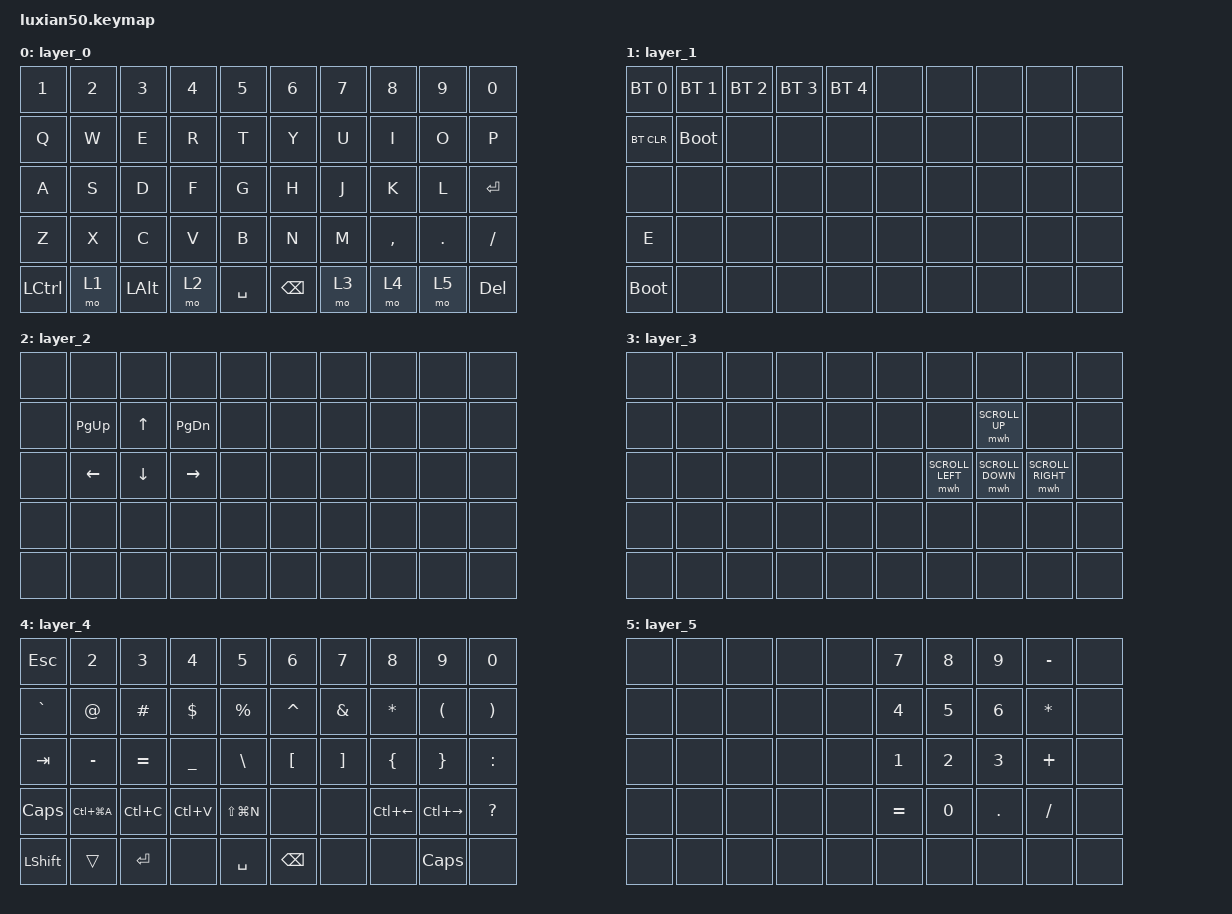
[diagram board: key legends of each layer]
#include <behaviors.dtsi>
#include <dt-bindings/zmk/mouse.h>
#include <dt-bindings/zmk/bt.h>
#include <dt-bindings/zmk/keys.h>
#include <dt-bindings/zmk/mouse.h>

/ {
    keymap {
        compatible = "zmk,keymap";

        layer_0 {
            bindings = <
&kp NUMBER_1  &kp NUMBER_2  &kp NUMBER_3  &kp NUMBER_4  &kp NUMBER_5  &kp NUMBER_6   &kp NUMBER_7  &kp NUMBER_8  &kp NUMBER_9  &kp NUMBER_0
&kp Q         &kp W         &kp E         &kp R         &kp T         &kp Y          &kp U         &kp I         &kp O         &kp P
&kp A         &kp S         &kp D         &kp F         &kp G         &kp H          &kp J         &kp K         &kp L         &kp ENTER
&kp Z         &kp X         &kp C         &kp V         &kp B         &kp N          &kp M         &kp COMMA     &kp DOT       &kp SLASH
&kp LCTRL     &mo 1         &kp LEFT_ALT  &mo 2         &kp SPACE     &kp BACKSPACE  &mo 3         &mo 4         &mo 5         &kp DELETE
            >;
        };

        layer_1 {
            bindings = <
&bt BT_SEL 0  &bt BT_SEL 1  &bt BT_SEL 2  &bt BT_SEL 3  &bt BT_SEL 4  &none  &none  &none  &none  &none
&bt BT_CLR    &bootloader   &none         &none         &none         &none  &none  &none  &none  &none
&none         &none         &none         &none         &none         &none  &none  &none  &none  &none
&kp E         &none         &none         &none         &none         &none  &none  &none  &none  &none
&bootloader   &none         &none         &none         &none         &none  &none  &none  &none  &none
            >;
        };

        layer_2 {
            bindings = <
&none  &none           &none           &none            &none  &none  &none  &none  &none  &none
&none  &kp PAGE_UP     &kp UP_ARROW    &kp PAGE_DOWN    &none  &none  &none  &none  &none  &none
&none  &kp LEFT_ARROW  &kp DOWN_ARROW  &kp RIGHT_ARROW  &none  &none  &none  &none  &none  &none
&none  &none           &none           &none            &none  &none  &none  &none  &none  &none
&none  &none           &none           &none            &none  &none  &none  &none  &none  &none
            >;
        };

        layer_3 {
            bindings = <
&none  &none  &none  &none  &none  &none  &none             &none             &none              &none
&none  &none  &none  &none  &none  &none  &none             &mwh SCROLL_UP    &none              &none
&none  &none  &none  &none  &none  &none  &mwh SCROLL_LEFT  &mwh SCROLL_DOWN  &mwh SCROLL_RIGHT  &none
&none  &none  &none  &none  &none  &none  &none             &none             &none              &none
&none  &none  &none  &none  &none  &none  &none             &none             &none              &none
            >;
        };

        layer_4 {
            bindings = <
&kp ESC       &kp NUMBER_2   &kp NUMBER_3  &kp NUMBER_4  &kp NUMBER_5   &kp NUMBER_6   &kp NUMBER_7  &kp NUMBER_8  &kp NUMBER_9   &kp NUMBER_0
&kp GRAVE     &kp AT_SIGN    &kp HASH      &kp DOLLAR    &kp PERCENT    &kp CARET      &kp AMPS      &kp ASTRK     &kp LPAR       &kp RPAR
&kp TAB       &kp MINUS      &kp EQUAL     &kp UNDER     &kp BSLH       &kp LBKT       &kp RBKT      &kp LBRC      &kp RBRC       &kp COLON
&kp CAPSLOCK  &kp LC(LG(A))  &kp LC(C)     &kp LC(V)     &kp LS(LG(N))  &none          &none         &kp LC(LEFT)  &kp LC(RIGHT)  &kp QMARK
&kp LSHIFT    &trans         &kp ENTER     &none         &kp SPACE      &kp BACKSPACE  &none         &none         &kp CAPS       &none
            >;
        };

        layer_5 {
            bindings = <
&none  &none  &none  &none  &none  &kp N7     &kp N8  &kp N9      &kp MINUS     &none
&none  &none  &none  &none  &none  &kp N4     &kp N5  &kp N6      &kp ASTERISK  &none
&none  &none  &none  &none  &none  &kp N1     &kp N2  &kp N3      &kp PLUS      &none
&none  &none  &none  &none  &none  &kp EQUAL  &kp N0  &kp PERIOD  &kp SLASH     &none
&none  &none  &none  &none  &none  &none      &none   &none       &none         &none
            >;
        };
    };
};
